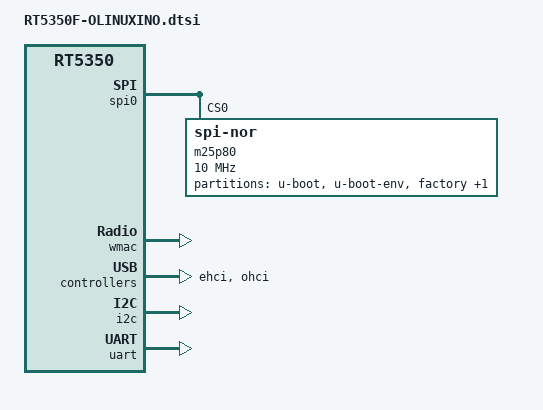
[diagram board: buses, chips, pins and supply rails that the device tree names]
#include "rt5350.dtsi"

/ {
	compatible = "olimex,rt5350f-olinuxino", "ralink,rt5350-soc";

	aliases {
		serial0 = &uartlite;
		serial1 = &uart;
	};
};


&spi0 {
	status = "okay";

	m25p80@0 {
		compatible = "jedec,spi-nor";
		reg = <0>;
		spi-max-frequency = <10000000>;

		partitions {
			compatible = "fixed-partitions";
			#address-cells = <1>;
			#size-cells = <1>;

			partition@0 {
				label = "u-boot";
				reg = <0x0 0x30000>;
				read-only;
			};

			partition@30000 {
				label = "u-boot-env";
				reg = <0x30000 0x10000>;
				read-only;
			};

			factory: partition@40000 {
				label = "factory";
				reg = <0x40000 0x10000>;
				read-only;
			};

			partition@50000 {
				compatible = "denx,uimage";
				label = "firmware";
				reg = <0x50000 0x7b0000>;
			};
		};
	};
};

&gpio1 {
	status = "okay";
};

&pinctrl {
	state_default: pinctrl0 {
		gpio {
			ralink,group = "jtag";
			ralink,function = "gpio";
		};
		uartf_gpio {
			ralink,group = "uartf";
			ralink,function = "gpio uartf";
		};
	};
};

&ethernet {
	mtd-mac-address = <&factory 0x4>;
};

&esw {
	mediatek,portmap = <0x2f>;
	mediatek,led_polarity = <0x17>;
};

&wmac {
	ralink,mtd-eeprom = <&factory 0>;
	ralink,led-polarity = <1>;
};

&ehci {
	status = "okay";
};

&ohci {
	status = "okay";
};

&i2c {
	status = "okay";
};

&uart {
	status = "okay";
};

